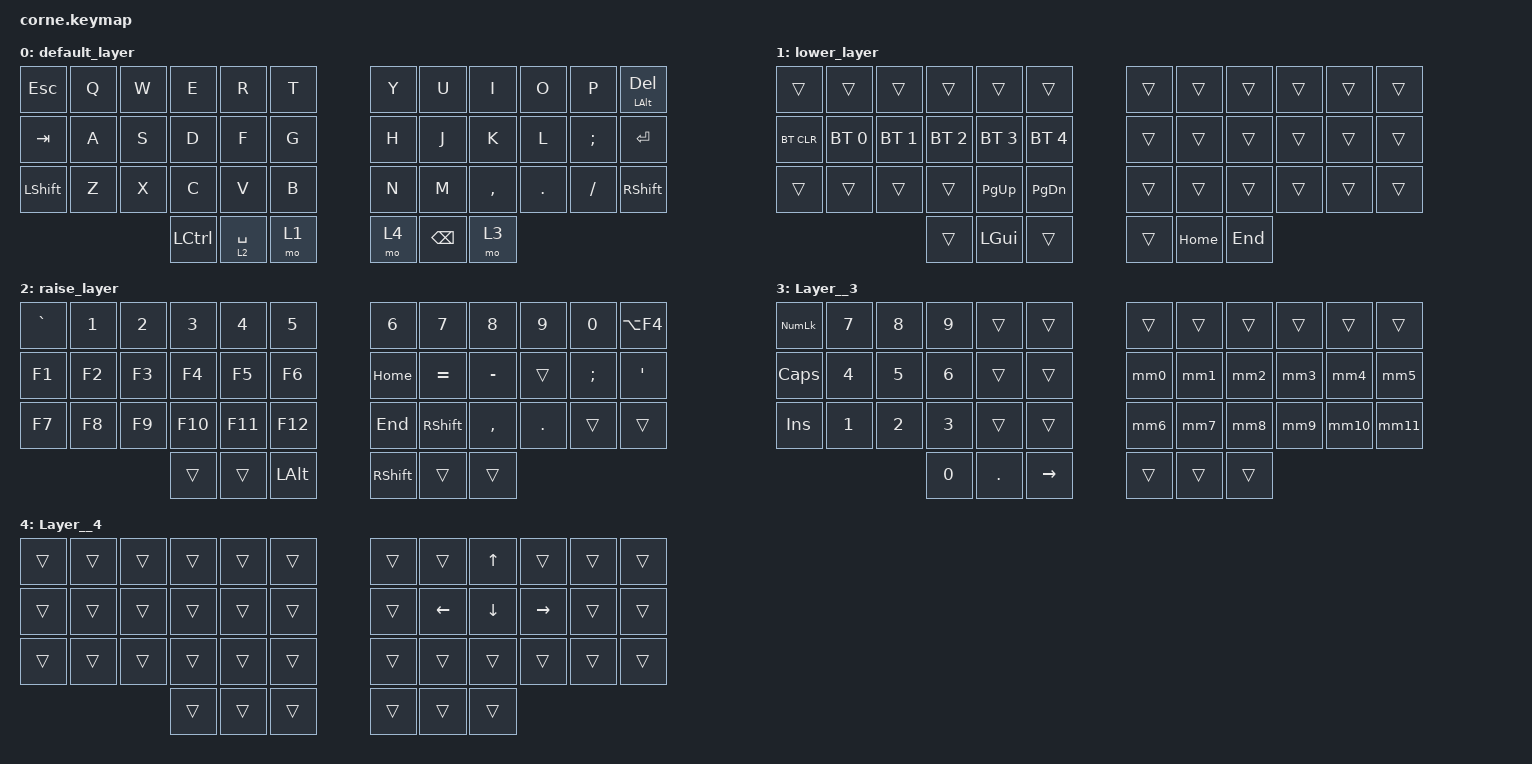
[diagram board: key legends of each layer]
/*
 * Copyright (c) 2020 The ZMK Contributors
 *
 * SPDX-License-Identifier: MIT
 */

#include <behaviors.dtsi>
#include <dt-bindings/zmk/keys.h>
#include <dt-bindings/zmk/bt.h>

/ {
    macros {
        mm0: mm0 {
            compatible = "zmk,behavior-macro";
            label = "new_macro";
            #binding-cells = <0>;
            bindings = <&kp HOME &kp LS(END)>;
        };
        mm1: mm1 {
            compatible = "zmk,behavior-macro";
            label = "new_macro";
            #binding-cells = <0>;
            bindings = <&kp LS(NUMBER_9) &kp LS(NUMBER_0)>;
        };
        mm2: mm2 {
            compatible = "zmk,behavior-macro";
            label = "new_macro";
            #binding-cells = <0>;
            bindings = <&kp LEFT_BRACE &kp RIGHT_BRACE>;
        };
        mm3: mm3 {
            compatible = "zmk,behavior-macro";
            label = "new_macro";
            #binding-cells = <0>;
            bindings = <&kp LEFT_BRACKET &kp RIGHT_BRACKET>;
        };
        mm4: mm4 {
            compatible = "zmk,behavior-macro";
            label = "new_macro";
            #binding-cells = <0>;
            bindings = <&kp SINGLE_QUOTE &kp SINGLE_QUOTE>;
        };
        mm5: mm5 {
            compatible = "zmk,behavior-macro";
            label = "new_macro";
            #binding-cells = <0>;
            bindings = <&kp LS(SINGLE_QUOTE) &kp LS(SINGLE_QUOTE)>;
        };
        mm6: mm6 {
            compatible = "zmk,behavior-macro";
            label = "new_macro";
            #binding-cells = <0>;
            bindings = <&kp LT &kp GT>;
        };
        mm7: mm7 {
            compatible = "zmk,behavior-macro";
            label = "new_macro";
            #binding-cells = <0>;
            bindings = <&kp LS(NUMBER_7) &kp LS(NUMBER_7)>;
        };
        mm8: mm8 {
            compatible = "zmk,behavior-macro";
            label = "new_macro";
            #binding-cells = <0>;
            bindings = <&kp LS(BACKSLASH) &kp LS(BACKSLASH)>;
        };
        mm9: mm9 {
            compatible = "zmk,behavior-macro";
            label = "new_macro";
            #binding-cells = <0>;
            bindings = <&kp LS(NUMBER_1) &kp EQUAL>;
        };
        mm10: mm10 {
            compatible = "zmk,behavior-macro";
            label = "new_macro";
            #binding-cells = <0>;
            bindings = <&kp LA(SLASH)>;
        };
        mm11: mm11 {
            compatible = "zmk,behavior-macro";
            label = "new_macro";
            #binding-cells = <0>;
            bindings = <&kp LT &kp KP_SUBTRACT &kp KP_SUBTRACT &kp SPACE &kp SPACE &kp KP_SUBTRACT &kp KP_SUBTRACT &kp GT &kp LEFT &kp LEFT &kp LEFT &kp LEFT>;
        };
    };

    keymap {
        compatible = "zmk,keymap";

        default_layer {
            // -----------------------------------------------------------------------------------------
            // |  TAB |  Q  |  W  |  E  |  R  |  T  |   |  Y  |  U   |  I  |  O  |  P  | BKSP |
            // | CTRL |  A  |  S  |  D  |  F  |  G  |   |  H  |  J   |  K  |  L  |  ;  |  '   |
            // | SHFT |  Z  |  X  |  C  |  V  |  B  |   |  N  |  M   |  ,  |  .  |  /  | ESC  |
            //                    | GUI | LWR | SPC |   | ENT | RSE  | ALT |

            bindings = <
  &kp ESC  &kp Q  &kp W      &kp E        &kp R  &kp T  &kp Y          &kp U      &kp I    &kp O     &kp P  &mt LALT DELETE
  &kp TAB  &kp A  &kp S      &kp D        &kp F  &kp G  &kp H          &kp J      &kp K    &kp L  &kp SEMI        &kp ENTER
&kp LSHFT  &kp Z  &kp X      &kp C        &kp V  &kp B  &kp N          &kp M  &kp COMMA  &kp DOT  &kp FSLH  &kp RIGHT_SHIFT
                         &kp LCTRL  &lt 2 SPACE  &mo 1  &mo 4  &kp BACKSPACE      &mo 3
            >;
        };

        lower_layer {
            // -----------------------------------------------------------------------------------------
            // |  TAB |  1  |  2  |  3  |  4  |  5  |   |  6  |  7  |  8  |  9  |  0  | BKSP |
            // | BTCLR| BT1 | BT2 | BT3 | BT4 | BT5 |   | LFT | DWN |  UP | RGT |     |      |
            // | SHFT |     |     |     |     |     |   |     |     |     |     |     |      |
            //                    | GUI |     | SPC |   | ENT |     | ALT |

            bindings = <
    &trans        &trans        &trans        &trans        &trans         &trans  &trans    &trans   &trans  &trans  &trans  &trans
&bt BT_CLR  &bt BT_SEL 0  &bt BT_SEL 1  &bt BT_SEL 2  &bt BT_SEL 3   &bt BT_SEL 4  &trans    &trans   &trans  &trans  &trans  &trans
    &trans        &trans        &trans        &trans   &kp PAGE_UP  &kp PAGE_DOWN  &trans    &trans   &trans  &trans  &trans  &trans
                                              &trans      &kp LGUI         &trans  &trans  &kp HOME  &kp END
            >;
        };

        raise_layer {
            // -----------------------------------------------------------------------------------------
            // |  TAB |  !  |  @  |  #  |  $  |  %  |   |  ^  |  &  |  *  |  (  |  )  | BKSP |
            // | CTRL |     |     |     |     |     |   |  -  |  =  |  [  |  ]  |  \  |  `   |
            // | SHFT |     |     |     |     |     |   |  _  |  +  |  {  |  }  | "|" |  ~   |
            //                    | GUI |     | SPC |   | ENT |     | ALT |

            bindings = <
&kp GRAVE  &kp NUMBER_1  &kp NUMBER_2  &kp NUMBER_3  &kp NUMBER_4  &kp NUMBER_5     &kp NUMBER_6     &kp NUMBER_7  &kp NUMBER_8  &kp NUMBER_9  &kp NUMBER_0        &kp LA(F4)
   &kp F1        &kp F2        &kp F3        &kp F4        &kp F5        &kp F6         &kp HOME        &kp EQUAL     &kp MINUS        &trans      &kp SEMI  &kp SINGLE_QUOTE
   &kp F7        &kp F8        &kp F9       &kp F10       &kp F11       &kp F12          &kp END  &kp RIGHT_SHIFT     &kp COMMA       &kp DOT        &trans            &trans
                                             &trans        &trans  &kp LEFT_ALT  &kp RIGHT_SHIFT           &trans        &trans
            >;
        };

        Layer__3 {
            bindings = <
&kp KP_NUMLOCK  &kp NUMBER_7  &kp NUMBER_8  &kp NUMBER_9   &trans     &trans  &trans  &trans  &trans  &trans  &trans  &trans
  &kp CAPSLOCK  &kp NUMBER_4  &kp NUMBER_5  &kp NUMBER_6   &trans     &trans    &mm0    &mm1    &mm2    &mm3    &mm4    &mm5
    &kp INSERT  &kp NUMBER_1  &kp NUMBER_2  &kp NUMBER_3   &trans     &trans    &mm6    &mm7    &mm8    &mm9   &mm10   &mm11
                                            &kp NUMBER_0  &kp DOT  &kp RIGHT  &trans  &trans  &trans
            >;
        };

        Layer__4 {
            bindings = <
&trans  &trans  &trans  &trans  &trans  &trans  &trans    &trans    &kp UP     &trans  &trans  &trans
&trans  &trans  &trans  &trans  &trans  &trans  &trans  &kp LEFT  &kp DOWN  &kp RIGHT  &trans  &trans
&trans  &trans  &trans  &trans  &trans  &trans  &trans    &trans    &trans     &trans  &trans  &trans
                        &trans  &trans  &trans  &trans    &trans    &trans
            >;
        };
    };
};
